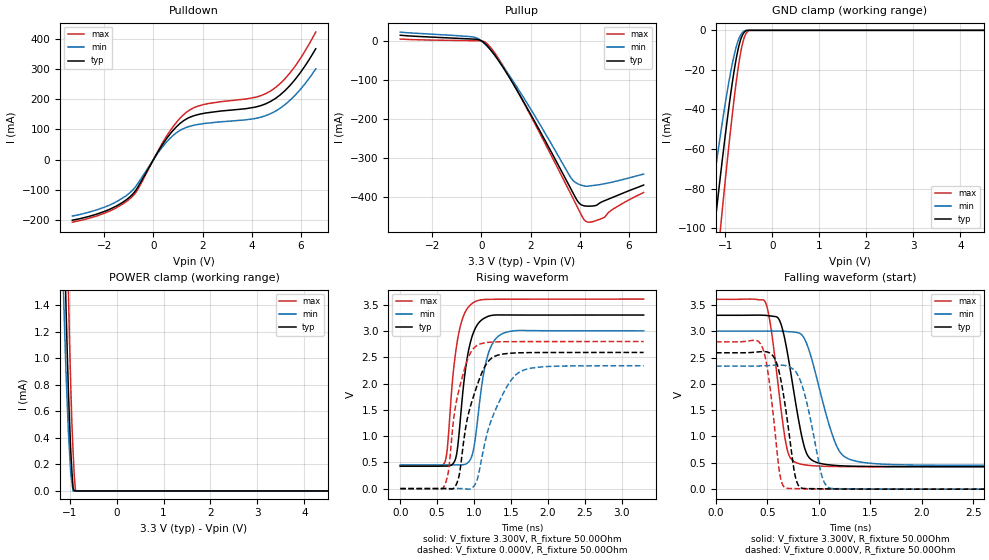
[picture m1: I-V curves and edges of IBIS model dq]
| [Disclaimer] THESE DESIGNS ARE PROVIDED "AS IS" WITH NO WARRANTY
| WHATSOEVER AND MICRON SPECIFICALLY DISCLAIMS ANY
| IMPLIED WARRANTIES OF MERCHANTABILITY, FITNESS FOR
| A PARTICULAR PURPOSE, OR AGAINST INFRINGEMENT.
| [Copyright] Copyright 2001, Micron Technology, Inc., All Rights
| Reserved.
| From y95c.ibs, Micron Technology, Inc.
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|   MODEL DQ
[Model]   dq
Model_type   I/O
Vinl = 800.000mV
Vinh = 2.000V
Vmeas = 1.500V
Cref = 50.000pF
|   typ   min   max
C_comp   3.950pF   3.020pF   4.880pF
[Voltage Range]   3.300V   3.000V   3.600V
[Temperature Range]   25.0   85.0   0.0
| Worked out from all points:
|   slope of the pulldown table from 0 to 0.495 V, typ, clamps not added: 7.6 ohm
|   slope of the pullup table from 0 to 0.495 V, typ, clamps not added: 15.2 ohm
|   GND clamp passes 1 mA (typ) near -0.60 V on its own axis
|   POWER clamp passes 1 mA (typ) near -1.05 V on its own axis
|   falling waveform, V_fixture 3.300V, R_fixture 50.00Ohm: 20-80 % time 153ps typ, 216ps min, 122ps max; typ from 3.31 V to 0.426 V
|   rising waveform, V_fixture 3.300V, R_fixture 50.00Ohm: 20-80 % time 147ps typ, 160ps min, 139ps max; typ from 0.426 V to 3.31 V
|   rising waveform, V_fixture 0.000V, R_fixture 50.00Ohm: 20-80 % time 244ps typ, 329ps min, 191ps max; typ from -0.001 V to 2.59 V
|   falling waveform, V_fixture 0.000V, R_fixture 50.00Ohm: 20-80 % time 116ps typ, 151ps min, 98.4ps max; typ from 2.59 V to -0.001 V
[Pulldown]
|   Voltage   I(typ)   I(min)   I(max)
-3.3V     -201.2mA   -187.3mA   -207.7mA
-1.775V   -164.7mA   NA         NA
-875mV    -117.3mA   NA         NA
-525mV    -76.01mA   -65.94mA   NA
550mV     71.64mA    NA         NA
900mV     106.1mA    NA         NA
1.4V      137.6mA    NA         NA
2.15V     154.9mA    NA         NA
4.15V     174.2mA    NA         NA
4.975V    203.6mA    NA         239.8mA
5.75V     264.7mA    212.5mA    308.7mA
6.6V      367.6mA    300.7mA    423.1mA
[GND Clamp]
|   Voltage   I(typ)   I(min)   I(max)
-3.3V     -833.1mA   -747.4mA   -911.7mA
-1.35V    -126mA     -98.52mA   -161.2mA
-1.225V   -98.55mA   -72.97mA   -129.8mA
-1.125V   -77.58mA   -56.07mA   NA
-1.075V   -67.41mA   -48.05mA   NA
-925mV    -38.78mA   -25.98mA   -58.23mA
-800mV    -18.52mA   -11.26mA   -31.95mA
-725mV    -9.125mA   -4.947mA   -18.59mA
-675mV    -4.686mA   -2.275mA   -11.32mA
-575mV    -447.4uA   -57.91uA   -2.349mA
-525mV    0A         NA         -595.9uA
6.6V      0A         0A         0A
[Pullup]
|   Voltage   I(typ)   I(min)   I(max)
-3.3V     14.38mA    22.39mA    4.465mA
-250mV    4.182mA    NA         NA
225mV     -12.01mA   -13.27mA   NA
700mV     -50.91mA   NA         -45.82mA
1.45V     -127.1mA   -119.1mA   NA
3.825V    -401.8mA   NA         NA
4V        -417.8mA   NA         NA
4.25V     -423.9mA   NA         NA
4.65V     -422.6mA   NA         -461.6mA
4.975V    -411.1mA   NA         -453.9mA
5.95V     -385.8mA   NA         NA
6.6V      -370mA     -341.8mA   -389.2mA
[POWER Clamp]
|   Voltage   I(typ)   I(min)   I(max)
-3.3V     65.1mA     53.78mA    74.63mA
-1.15V    2.577mA    NA         3.951mA
-1.125V   2.147mA    1.447mA    3.407mA
-1.1V     1.756mA    NA         2.879mA
-1.075V   1.384mA    890.3uA    2.391mA
-1.025V   760.2uA    448.8uA    1.511mA
-1V       517.6uA    289.7uA    1.123mA
-975mV    303.3uA    136.7uA    801.6uA
-950mV    148.3uA    NA         511.5uA
-925mV    22.78uA    0A         299.3uA
-900mV    0A         NA         116.7uA
6.6V      0A         0A         0A
[Ramp]
R_load = 50.00Ohm
|   typ   min   max
dV/dt_r   1.556V/243.276ps   1.404V/328.852ps   1.681V/191.107ps
dV/dt_f   1.727V/152.572ps   1.531V/215.830ps   1.911V/122.403ps
[Falling Waveform]
V_fixture = 3.300V
V_fixture_min = 3.000V
V_fixture_max = 3.600V
R_fixture = 50.00Ohm
|   Time   V(typ)   V(min)   V(max)
0s        3.305V     3.004V     3.609V
480ps     3.304V     NA         3.553V
630ps     3.145V     NA         1.542V
690ps     2.63V      NA         763.8mV
770ps     1.68V      NA         510.3mV
840ps     941.2mV    2.919V     468mV
900ps     611.1mV    NA         NA
1.14ns    452.6mV    974.3mV    NA
1.26ns    438.9mV    601mV      NA
3.3ns     426.2mV    451.3mV    424.4mV
[Rising Waveform]
V_fixture = 3.300V
V_fixture_min = 3.000V
V_fixture_max = 3.600V
R_fixture = 50.00Ohm
|   Time   V(typ)   V(min)   V(max)
0s        426.2mV    451.3mV    424.4mV
590ps     427.9mV    NA         468.3mV
630ps     427mV      NA         663mV
710ps     464.8mV    NA         2.084V
780ps     810.4mV    NA         2.858V
880ps     2.226V     461.5mV    3.359V
980ps     2.923V     662.9mV    3.531V
1.16ns    3.261V     2.395V     3.602V
1.31ns    3.306V     2.875V     3.605V
3.3ns     3.305V     3.004V     3.609V
[Rising Waveform]
V_fixture = 0.000V
V_fixture_min = 0.000V
V_fixture_max = 0.000V
R_fixture = 50.00Ohm
|   Time   V(typ)   V(min)   V(max)
0s        -1.412mV   -1.649mV   -1.294mV
600ps     1.41mV     NA         57.04mV
640ps     -1.245mV   NA         232.3mV
720ps     -401.3uV   NA         1.279V
780ps     150mV      NA         1.782V
910ps     1.332V     NA         NA
1.04ns    1.954V     155.6mV    2.724V
1.24ns    2.485V     1.324V     NA
1.6ns     2.585V     NA         NA
3.3ns     2.592V     2.339V     2.8V
[Falling Waveform]
V_fixture = 0.000V
V_fixture_min = 0.000V
V_fixture_max = 0.000V
R_fixture = 50.00Ohm
|   Time   V(typ)   V(min)   V(max)
0s        2.592V     2.339V     2.8V
450ps     2.613V     NA         2.695V
510ps     2.599V     NA         2.147V
580ps     2.439V     NA         961.4mV
620ps     2.169V     NA         279.2mV
670ps     1.613V     2.35V      28.03mV
760ps     337.4mV    NA         NA
800ps     68.98mV    2.148V     NA
1.14ns    2.521mV    9.186mV    NA
3.3ns     -1.412mV   -1.649mV   -1.294mV
